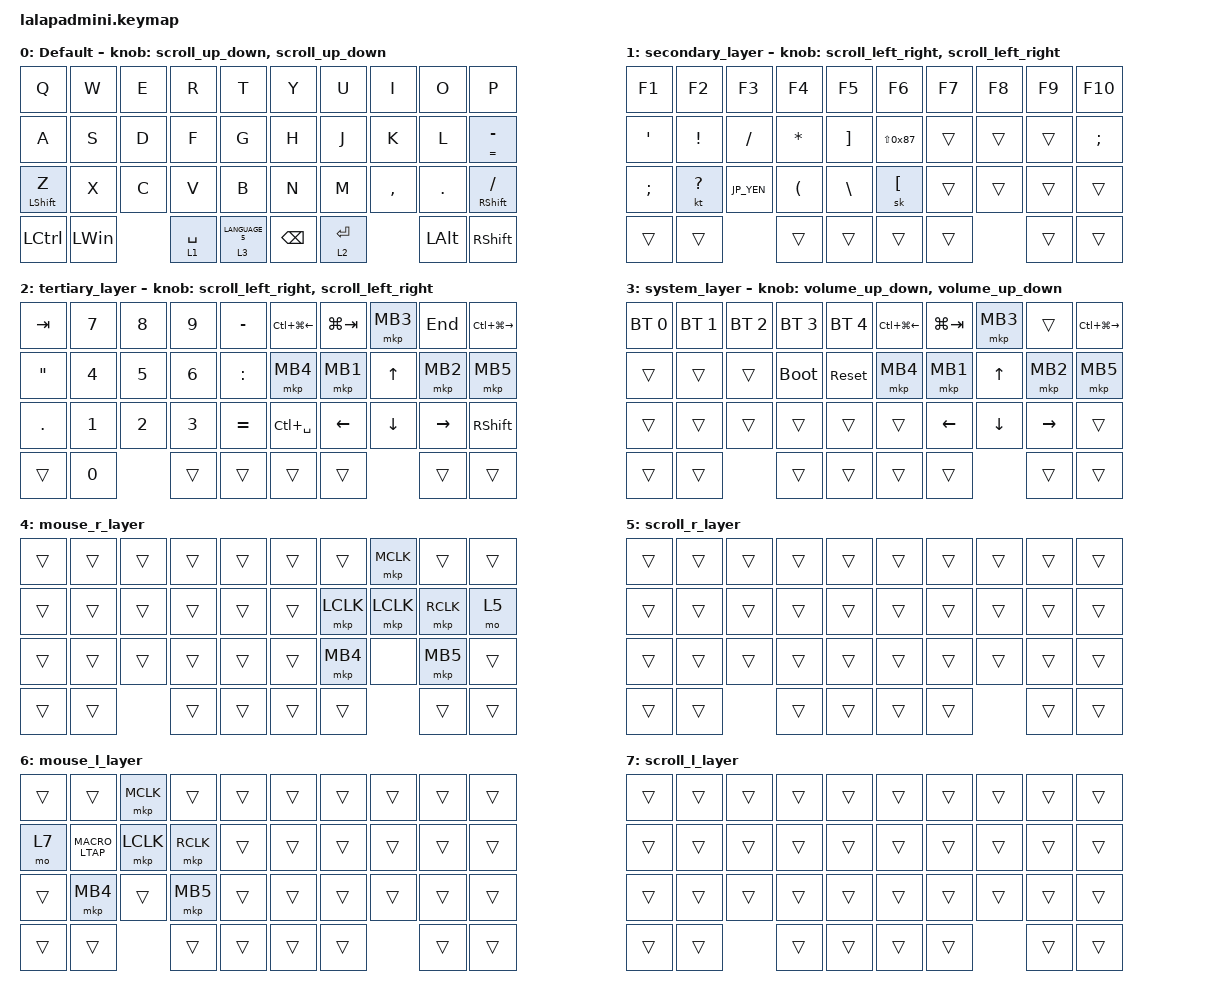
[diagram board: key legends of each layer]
#include <input/processors.dtsi>
#include <behaviors.dtsi>
#include <dt-bindings/zmk/bt.h>
#include <dt-bindings/zmk/keys.h>
#include <dt-bindings/zmk/pointing.h>

#define DEFAULT_LAYER   0
#define SECONDARY_LAYER 1
#define TERTIARY_LAYER  2
#define SYSTEM_LAYER    3
#define MOUSE_R_LAYER   4
#define SCROLL_R_LAYER  5
#define MOUSE_L_LAYER   6
#define SCROLL_L_LAYER  7

// OS設定を日本語キーボードのまま使用するための変換定義

#define JP_DQUOTE       AT                // "
#define JP_AMPERSAND    CARET             // &
#define JP_QUOTE        AMPERSAND         // '
#define JP_EQUAL        UNDER             // =
#define JP_CARET        EQUAL             // ^
#define JP_YEN          0x89              // ¥
#define JP_PLUS         COLON             // +
#define JP_TILDE        PLUS              // ~
#define JP_PIPE         LS(0x89)          // |
#define JP_AT           LEFT_BRACKET      // @
#define JP_COLON        SINGLE_QUOTE      // :
#define JP_ASTERISK     DOUBLE_QUOTES     // *
#define JP_BACKQUOTE    LEFT_BRACE        // `
#define JP_UNDERSCORE   LS(0x87)          // _
#define JP_LBRACKET     RIGHT_BRACKET     // [
#define JP_RBRACKET     BACKSLASH         // ]
#define JP_LPAREN       ASTERISK          // (
#define JP_RPAREN       LEFT_PARENTHESIS  // )
#define JP_LBRACE       RIGHT_BRACE       // {
#define JP_RBRACE       PIPE              // }
#define JP_KANA         LANGUAGE_1        // かな
#define JP_EISU         LANGUAGE_2        // 英数
#define JP_HANZEN       GRAVE             // 半角/全角

// Mouse Scroll Value

#define ZMK_POINTING_DEFAULT_SCRL_VAL 100

// cirque trackpad input&layer control

&glidepoint_listener_R {
    input-processors =
        <&zip_xy_transform (INPUT_TRANSFORM_XY_SWAP | INPUT_TRANSFORM_X_INVERT | INPUT_TRANSFORM_Y_INVERT)>,
        <&zip_xy_scaler 3 2>,
        <&zip_temp_layer MOUSE_R_LAYER 300>;

    lowspeedmode {
        layers = <SECONDARY_LAYER>;
        input-processors =
            <&zip_xy_transform (INPUT_TRANSFORM_XY_SWAP | INPUT_TRANSFORM_X_INVERT | INPUT_TRANSFORM_Y_INVERT)>,
            <&zip_xy_scaler 3 5>,
            <&zip_temp_layer MOUSE_R_LAYER 300>;
    };

    scroller {
        layers = <SCROLL_R_LAYER>;
        input-processors =
            <&zip_xy_to_scroll_mapper>,
            <&zip_scroll_transform (INPUT_TRANSFORM_XY_SWAP | INPUT_TRANSFORM_Y_INVERT)>,
            <&zip_scroll_scaler 1 32>;
    };
};

&glidepoint_listener_L {
    input-processors =
        <&zip_xy_transform (INPUT_TRANSFORM_XY_SWAP | INPUT_TRANSFORM_X_INVERT | INPUT_TRANSFORM_Y_INVERT)>,
        <&zip_xy_scaler 3 2>,
        <&zip_temp_layer MOUSE_L_LAYER 300>;

    lowspeedmode {
        layers = <TERTIARY_LAYER>;
        input-processors =
            <&zip_xy_transform (INPUT_TRANSFORM_XY_SWAP | INPUT_TRANSFORM_X_INVERT | INPUT_TRANSFORM_Y_INVERT)>,
            <&zip_xy_scaler 3 4>,
            <&zip_temp_layer MOUSE_L_LAYER 300>;
    };

    scroller {
        layers = <SCROLL_L_LAYER>;
        input-processors =
            <&zip_xy_to_scroll_mapper>,
            <&zip_scroll_transform (INPUT_TRANSFORM_XY_SWAP | INPUT_TRANSFORM_Y_INVERT)>,
            <&zip_scroll_scaler 1 32>;
    };
};

&mt { quick-tap-ms = <200>; };

&lt { quick-tap-ms = <200>; };

/ {
    behaviors {
        // Encoder to Mouse Scroll

        scroll_up_down: behavior_sensor_rotate_mouse_wheel_up_down {
            compatible = "zmk,behavior-sensor-rotate";
            #sensor-binding-cells = <0>;
            bindings = <&msc SCRL_UP>, <&msc SCRL_DOWN>;

            tap-ms = <20>;
        };

        scroll_down_up: behavior_sensor_rotate_mouse_wheel_down_up {
            compatible = "zmk,behavior-sensor-rotate";
            #sensor-binding-cells = <0>;
            bindings = <&msc SCRL_DOWN>, <&msc SCRL_UP>;

            tap-ms = <20>;
        };

        scroll_left_right: behavior_sensor_rotate_mouse_wheel_left_right {
            compatible = "zmk,behavior-sensor-rotate";
            #sensor-binding-cells = <0>;
            bindings = <&msc SCRL_LEFT>, <&msc SCRL_RIGHT>;

            tap-ms = <20>;
        };

        scroll_right_left: behavior_sensor_rotate_mouse_wheel_right_left {
            compatible = "zmk,behavior-sensor-rotate";
            #sensor-binding-cells = <0>;
            bindings = <&msc SCRL_RIGHT>, <&msc SCRL_LEFT>;

            tap-ms = <20>;
        };

        volume_up_down: behavior_sensor_rotate_volume_up_down {
            compatible = "zmk,behavior-sensor-rotate";
            #sensor-binding-cells = <0>;
            bindings = <&kp C_VOLUME_UP>, <&kp C_VOLUME_DOWN>;

            tap-ms = <20>;
        };

        mt2: mod_tap2 {
            compatible = "zmk,behavior-hold-tap";
            #binding-cells = <2>;
            flavor = "tap-preferred";
            tapping-term-ms = <200>;
            quick-tap-ms = <200>;
            require-prior-idle-ms = <125>;
            bindings = <&kp>, <&kp>;
        };

        tap_dance_layer_1and2: tap_dance_layer_1and2 {
            compatible = "zmk,behavior-tap-dance";
            label = "td_mo12";
            #binding-cells = <0>;
            bindings = <&mo 1>, <&mo 2>;
        };
    };

    combos {
        compatible = "zmk,combos";

        CONBO_ESC {
            bindings = <&kp ESCAPE>;
            key-positions = <0 1>;
        };

        COMBO_TAB {
            bindings = <&kp TAB>;
            key-positions = <10 11>;
        };

        COMBO_WIN {
            bindings = <&kp LWIN>;
            key-positions = <30 31>;
        };
    };

    macros {
        MACRO_LTAP: MACRO_LTAP {
            compatible = "zmk,behavior-macro";
            #binding-cells = <0>;
            bindings = <&mkp LCLK>;
            label = "MACRO_LTAP";
        };
    };

    keymap {
        compatible = "zmk,keymap";

        DEFAULT_LAYER {
            display-name = "Default";
            sensor-bindings = <&scroll_up_down>, <&scroll_up_down>;

            bindings = <
&kp Q             &kp W         &kp E  &kp R        &kp T             &kp Y          &kp U        &kp I      &kp O         &kp P
&kp A             &kp S         &kp D  &kp F        &kp G             &kp H          &kp J        &kp K      &kp L         &mt2 EQUAL MINUS
&mt LEFT_SHIFT Z  &kp X         &kp C  &kp V        &kp B             &kp N          &kp M        &kp COMMA  &kp PERIOD    &mt RSHIFT SLASH
&kp LCTRL         &kp LEFT_WIN         &lt 1 SPACE  &lt 3 LANGUAGE_5  &kp BACKSPACE  &lt 2 ENTER             &kp LEFT_ALT  &kp RIGHT_SHIFT
            >;
        };

        SECONDARY_LAYER {
            display-name = "secondary_layer";
            sensor-bindings = <&scroll_left_right>, <&scroll_left_right>;

            bindings = <
&kp F1         &kp F2           &kp F3      &kp F4         &kp F5           &kp F6             &kp F7  &kp F8  &kp F9  &kp F10
&kp JP_COLON   &kp EXCLAMATION  &kp SLASH   &kp JP_LPAREN  &kp JP_LBRACKET  &kp JP_UNDERSCORE  &trans  &trans  &trans  &kp SEMI
&kp SEMICOLON  &kt QUESTION     &kp JP_YEN  &kp JP_RPAREN  &kp JP_RBRACKET  &sk JP_AT          &trans  &trans  &trans  &trans
&trans         &trans                       &trans         &trans           &trans             &trans          &trans  &trans
            >;
        };

        TERTIARY_LAYER {
            display-name = "tertiary_layer";
            bindings = <
&kp TAB          &kp NUMBER_7  &kp NUMBER_8  &kp NUMBER_9  &kp MINUS    &kp LC(LG(LEFT))  &kp LG(TAB)  &mkp MB3  &kp END    &kp LC(LG(RIGHT))
&kp JP_ASTERISK  &kp NUMBER_4  &kp N5        &kp NUMBER_6  &kp JP_PLUS  &mkp MB4          &mkp MB1     &kp UP    &mkp MB2   &mkp MB5
&kp PERIOD       &kp NUMBER_1  &kp NUMBER_2  &kp NUMBER_3  &kp EQUAL    &kp LC(SPACE)     &kp LEFT     &kp DOWN  &kp RIGHT  &kp RIGHT_SHIFT
&trans           &kp N0                      &trans        &trans       &trans            &trans                 &trans     &trans
            >;

            sensor-bindings = <&scroll_left_right>, <&scroll_left_right>;
        };

        SYSTEM_LAYER {
            display-name = "system_layer";
            sensor-bindings = <&volume_up_down>, <&volume_up_down>;

            bindings = <
&bt BT_SEL 0  &bt BT_SEL 1  &bt BT_SEL 2  &bt BT_SEL 3  &bt BT_SEL 4  &kp LC(LG(LEFT))  &kp LG(TAB)  &mkp MB3  &trans     &kp LC(LG(RIGHT))
&trans        &trans        &trans        &bootloader   &sys_reset    &mkp MB4          &mkp MB1     &kp UP    &mkp MB2   &mkp MB5
&trans        &trans        &trans        &trans        &trans        &trans            &kp LEFT     &kp DOWN  &kp RIGHT  &trans
&trans        &trans                      &trans        &trans        &trans            &trans                 &trans     &trans
            >;
        };

        MOUSE_R_LAYER {
            display-name = "mouse_r_layer";
            bindings = <
&trans  &trans  &trans  &trans  &trans  &trans  &trans     &mkp MCLK  &trans     &trans
&trans  &trans  &trans  &trans  &trans  &trans  &mkp LCLK  &mkp LCLK  &mkp RCLK  &mo 5
&trans  &trans  &trans  &trans  &trans  &trans  &mkp MB4   &none      &mkp MB5   &trans
&trans  &trans          &trans  &trans  &trans  &trans                &trans     &trans
            >;
        };

        SCROLL_R_LAYER {
            display-name = "scroll_r_layer";
            bindings = <
&trans  &trans  &trans  &trans  &trans  &trans  &trans  &trans  &trans  &trans
&trans  &trans  &trans  &trans  &trans  &trans  &trans  &trans  &trans  &trans
&trans  &trans  &trans  &trans  &trans  &trans  &trans  &trans  &trans  &trans
&trans  &trans          &trans  &trans  &trans  &trans          &trans  &trans
            >;
        };

        MOUSE_L_LAYER {
            display-name = "mouse_l_layer";
            bindings = <
&trans  &trans       &mkp MCLK  &trans     &trans  &trans  &trans  &trans  &trans  &trans
&mo 7   &MACRO_LTAP  &mkp LCLK  &mkp RCLK  &trans  &trans  &trans  &trans  &trans  &trans
&trans  &mkp MB4     &trans     &mkp MB5   &trans  &trans  &trans  &trans  &trans  &trans
&trans  &trans                  &trans     &trans  &trans  &trans          &trans  &trans
            >;
        };

        SCROLL_L_LAYER {
            display-name = "scroll_l_layer";
            bindings = <
&trans  &trans  &trans  &trans  &trans  &trans  &trans  &trans  &trans  &trans
&trans  &trans  &trans  &trans  &trans  &trans  &trans  &trans  &trans  &trans
&trans  &trans  &trans  &trans  &trans  &trans  &trans  &trans  &trans  &trans
&trans  &trans          &trans  &trans  &trans  &trans          &trans  &trans
            >;
        };
    };

    conditional_layers { compatible = "zmk,conditional-layers"; };
};
